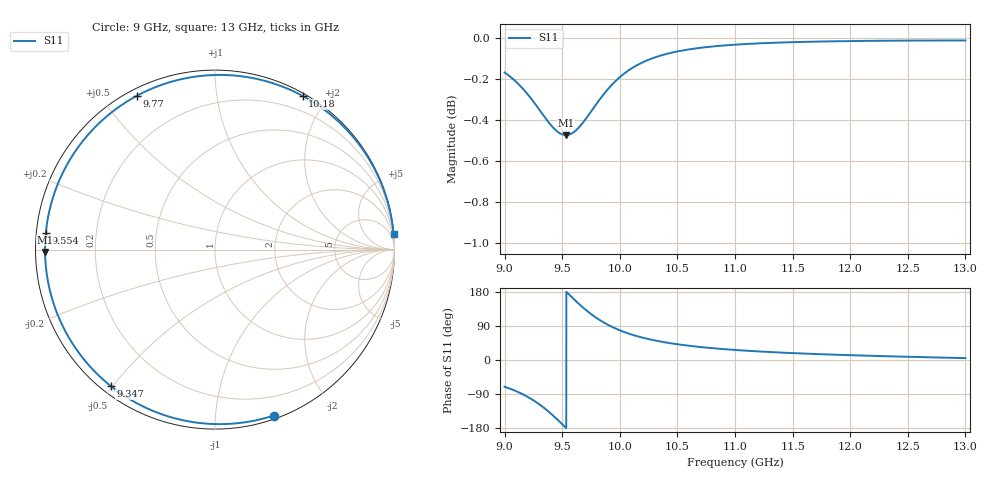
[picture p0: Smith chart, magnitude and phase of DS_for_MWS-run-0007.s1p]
! TOUCHSTONE file generated by CST DESIGN STUDIO
! Date and time: Tue Feb  4 14:05:40 2025
! Project name: C:\Work\MatlabApps\UnitCellOptimizationMatlab\CST\unitcell.cst
! Tree item: Tasks\Sweep1\SPara1\S-Parameters
! Header version: 2024
! Port assignment regex: !\s*Touchstone port\s*([0-9]+)\s*=\s*(CST MWS port|CST DES external port|CST DES block port)\s*(.+)\s* \(\"(.*)\"\)(\s*mode\s*([0-9]+))?.*
! Touchstone port assignment:
! Touchstone port 1 = CST DES external port 1 ("")
# GHz S MA R 50
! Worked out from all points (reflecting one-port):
!   4001 points, 9 GHz to 13 GHz, reference 50 ohm
!   lowest |S11| = -0.5 dB at 9.533 GHz (marker M1), VSWR 36.73, Z = 1.36 - j0.341 ohm
!   phase of S11 starts at -71 deg and turns -284 deg over the sweep
!   S11 on the Smith chart (normalised r, x): 9 GHz: 0.03, -1.41; 9.347 GHz: 0.03, -0.49; 9.554 GHz: 0.03, +0.05; 9.77 GHz: 0.03, +0.61; 10.18 GHz: 0.03, +1.72; 13 GHz: 0, +23
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9  0.9807 -70.6
9.097  0.9758 -81.8
9.204  0.9685 -98.0
9.279  0.9624 -112.2
9.347  0.9566 -127.5
9.419  0.9511 -146.1
9.461  0.9487 -157.9
9.5  0.9474 -169.4
9.533  0.947 -179.2
9.554  0.9471 174.5
9.608  0.9489 158.6
9.668  0.9526 141.8
9.719  0.9568 128.7
9.77  0.9613 116.8
9.818  0.9654 106.9
9.871  0.9697 97.2
9.93  0.9739 87.8
10  0.9782 78.3
10.087  0.9823 68.7
10.181  0.9858 60.3
10.327  0.9895 50.3
10.5  0.9923 41.6
10.721  0.9945 33.6
11  0.9961 26.5
11.5  0.9975 18.2
12  0.9981 12.7
12.5  0.9984 8.5
13  0.9985 5.0
